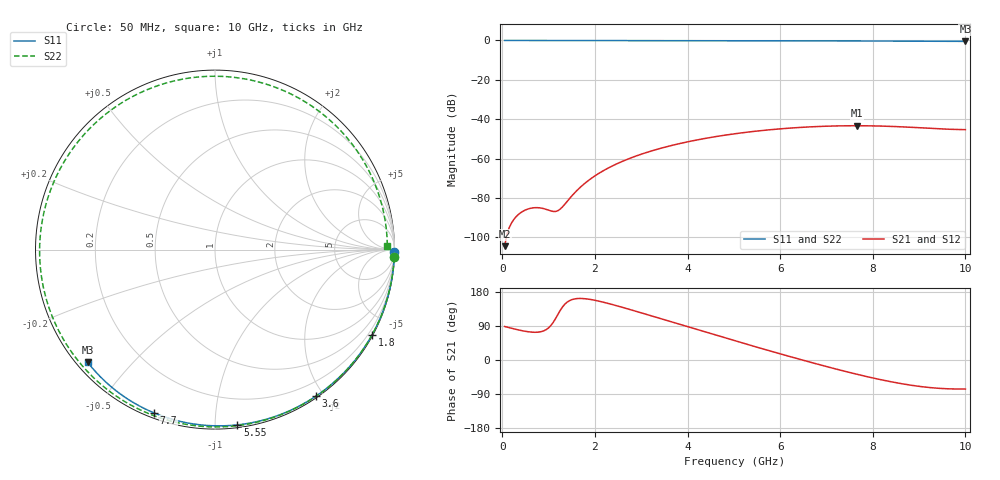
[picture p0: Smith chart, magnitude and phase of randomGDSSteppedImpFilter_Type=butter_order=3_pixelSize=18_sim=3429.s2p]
! freq	dB(S11)	phase(S11)	dB(S12)	phase(S12)
!  dB(S21)	phase(S21)	dB(S22)	phase(S22)
!S-par simulation data
#  GHz  S  DB  R 50
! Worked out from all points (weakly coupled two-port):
!   200 points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, 50 MHz to 10 GHz, reference 50 ohm
!   highest |S21| = -43.32 dB at 7.65 GHz (marker M1); lowest = -104.5 dB at 50 MHz (marker M2)
!   lowest |S11| = -0.5 dB at 10 GHz (marker M3), VSWR 37.07, Z = 1.54 - j19 ohm
!   |S11| at or under -10 dB: nowhere
!   |S22| runs from -0.4 to 0.0 dB; largest |S21 - S12| = 0
!   S11 on the Smith chart (normalised r, x): 50 MHz: open; 1.8 GHz: 0.03, -3.95; 3.6 GHz: 0.02, -1.90; 5.55 GHz: 0.02, -1.14; 7.7 GHz: 0.02, -0.69; 10 GHz: 0.03, -0.38
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0.05  -0.00 -0.8  -104.51 88.4  -104.51 88.4  -0.00 -2.5
0.65  -0.01 -10.4  -85.09 73.4  -85.09 73.4  -0.04 -31.7
1.05  -0.02 -16.7  -86.60 91.1  -86.60 91.1  -0.06 -50.5
1.45  -0.03 -22.9  -80.37 156.5  -80.37 156.5  -0.08 -68.6
1.75  -0.04 -27.6  -73.22 162.1  -73.22 162.1  -0.10 -81.5
1.8  -0.04 -28.4  -72.24 161.5  -72.24 161.5  -0.10 -83.6
2.1  -0.04 -33.0  -67.31 154.9  -67.31 154.9  -0.11 -95.9
2.45  -0.05 -38.3  -62.92 143.9  -62.92 143.9  -0.12 -109.7
2.95  -0.06 -45.9  -58.19 126.3  -58.19 126.3  -0.14 -128.2
3.4  -0.07 -52.5  -54.92 109.8  -54.92 109.8  -0.16 -144.1
3.6  -0.07 -55.4  -53.68 102.5  -53.68 102.5  -0.16 -150.9
4.3  -0.09 -65.5  -50.11 76.8  -50.11 76.8  -0.19 -174.0
5.05  -0.12 -75.9  -47.31 49.8  -47.31 49.8  -0.22 162.0
5.55  -0.14 -82.7  -45.90 32.0  -45.90 32.0  -0.25 146.1
6.15  -0.16 -90.7  -44.63 11.1  -44.63 11.1  -0.27 127.0
6.7  -0.19 -97.8  -43.84 -7.4  -43.84 -7.4  -0.29 109.2
7.2  -0.22 -104.2  -43.43 -23.7  -43.43 -23.7  -0.30 92.8
7.65  -0.25 -109.8  -43.32 -37.4  -43.32 -37.4  -0.31 77.9
7.7  -0.25 -110.4  -43.32 -38.9  -43.32 -38.9  -0.31 76.3
8.35  -0.30 -118.4  -43.62 -56.4  -43.62 -56.4  -0.32 54.7
9.2  -0.38 -128.8  -44.59 -72.3  -44.59 -72.3  -0.33 26.7
10  -0.47 -138.4  -45.29 -76.6  -45.29 -76.6  -0.35 1.3
